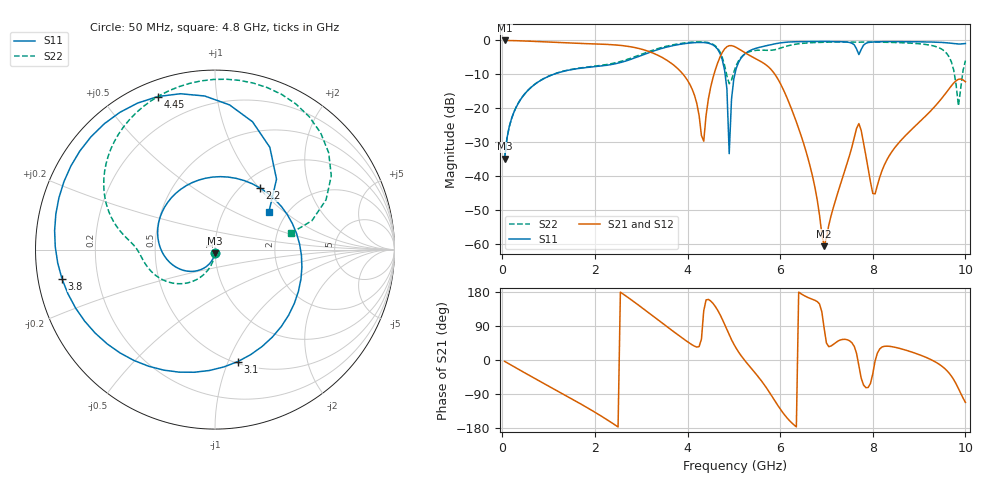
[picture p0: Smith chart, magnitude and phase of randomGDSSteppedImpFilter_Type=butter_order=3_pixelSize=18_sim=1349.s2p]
! freq	dB(S11)	phase(S11)	dB(S12)	phase(S12)
!  dB(S21)	phase(S21)	dB(S22)	phase(S22)
!S-par simulation data
#  GHz  S  DB  R 50
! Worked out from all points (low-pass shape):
!   200 points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, 50 MHz to 10 GHz, reference 50 ohm
!   highest |S21| = -0.01 dB at 50 MHz (marker M1); lowest = -60.6 dB at 6.95 GHz (marker M2)
!   |S21| within 3 dB of the highest: start of sweep to 3.112 GHz; 4.776 GHz to 5.168 GHz (391.6 MHz wide, 7.88 % of centre)
!   lowest |S11| = -34.8 dB at 50 MHz (marker M3), VSWR 1.04, Z = 49.8 - j1.8 ohm
!   |S11| at or under -10 dB: start of sweep to 1.104 GHz; 4.812 GHz to 5.022 GHz (209.9 MHz wide, 4.27 % of centre)
!   |S22| runs from -34.8 to -0.4 dB; largest |S21 - S12| = 0
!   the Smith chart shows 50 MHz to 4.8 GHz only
!   S11 on the Smith chart (normalised r, x): 50 MHz: 1.00, -0.04; 2.2 GHz: 1.20, +1.01; 3.1 GHz: 0.52, -1.08; 3.8 GHz: 0.07, -0.09; 4.45 GHz: 0.07, +0.69; 4.8 GHz: 1.62, +0.79
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0.05  -34.85 -94.5  -0.01 -3.6  -0.01 -3.6  -34.84 -92.8
1.75  -8.08 108.8  -0.91 -119.9  -0.91 -119.9  -7.98 -169.5
2.2  -7.42 53.9  -1.13 -152.8  -1.13 -152.8  -7.21 179.6
3.1  -3.92 -78.5  -2.95 130.2  -2.95 130.2  -3.59 156.7
3.4  -2.52 -119.7  -4.64 102.4  -4.64 102.4  -2.24 141.7
3.8  -1.23 -169.2  -8.45 65.8  -8.45 65.8  -1.00 116.8
4.35  -0.63 124.7  -29.66 129.8  -29.66 129.8  -0.46 72.0
4.45  -0.82 110.4  -17.24 159.9  -17.24 159.9  -0.65 60.9
4.8  -8.72 35.0  -2.51 94.2  -2.51 94.2  -7.33 12.0
4.9  -33.34 -6.8  -1.55 66.5  -1.55 66.5  -12.75 36.6
5.05  -8.32 154.2  -2.05 31.1  -2.05 31.1  -7.40 66.8
5.5  -2.22 99.4  -5.58 -40.1  -5.58 -40.1  -2.90 -3.7
5.8  -1.25 77.8  -8.50 -91.3  -8.50 -91.3  -2.90 -88.7
6.1  -0.56 57.4  -15.40 -145.6  -15.40 -145.6  -1.85 172.3
6.7  -0.32 22.9  -40.03 160.0  -40.03 160.0  -0.65 77.0
6.95  -0.32 10.7  -60.59 83.7  -60.59 83.7  -0.53 55.8
7.7  -4.16 -18.4  -24.49 -15.0  -24.49 -15.0  -0.53 9.7
8  -0.46 -23.0  -45.07 -36.6  -45.07 -36.6  -0.48 -6.0
8.35  -0.35 -37.1  -34.09 36.3  -34.09 36.3  -0.56 -23.4
9.7  -0.84 -77.2  -13.32 -42.8  -13.32 -42.8  -6.42 -129.4
9.85  -1.04 -79.4  -11.44 -75.2  -11.44 -75.2  -19.27 126.6
10  -0.91 -80.9  -12.16 -111.8  -12.16 -111.8  -5.95 -0.7
